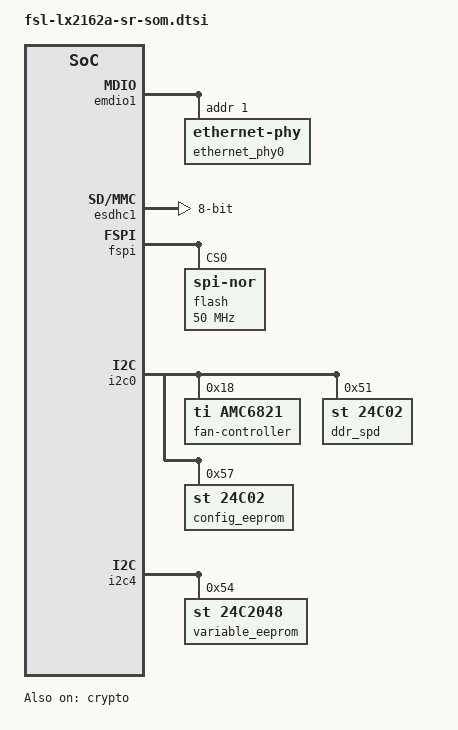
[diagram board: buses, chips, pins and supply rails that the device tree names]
// SPDX-License-Identifier: (GPL-2.0 OR MIT)
//
// Device Tree file for LX2162A-SOM
//
// Copyright 2021 Rabeeh Khoury <rabeeh@solid-run.com>
// Copyright 2023 Josua Mayer <josua@solid-run.com>

&crypto {
	status = "okay";
};

&dpmac17 {
	phy-handle = <&ethernet_phy0>;
	phy-connection-type = "rgmii-id";
};

&emdio1 {
	status = "okay";

	ethernet_phy0: ethernet-phy@1 {
		reg = <1>;
	};
};

&esdhc1 {
	bus-width = <8>;
	mmc-hs200-1_8v;
	mmc-hs400-1_8v;
	status = "okay";
};

&fspi {
	status = "okay";

	flash@0 {
		compatible = "jedec,spi-nor";
		reg = <0>;
		m25p,fast-read;
		spi-max-frequency = <50000000>;
		/* The following setting enables 1-1-8 (CMD-ADDR-DATA) mode */
		spi-rx-bus-width = <8>;
		spi-tx-bus-width = <1>;
	};
};

&i2c0 {
	status = "okay";

	fan-controller@18 {
		compatible = "ti,amc6821";
		reg = <0x18>;
	};

	ddr_spd: eeprom@51 {
		compatible = "st,24c02", "atmel,24c02";
		reg = <0x51>;
		read-only;
	};

	config_eeprom: eeprom@57 {
		compatible = "st,24c02", "atmel,24c02";
		reg = <0x57>;
	};
};

&i2c4 {
	status = "okay";

	variable_eeprom: eeprom@54 {
		compatible = "st,24c2048", "atmel,24c2048";
		reg = <0x54>;
	};
};
